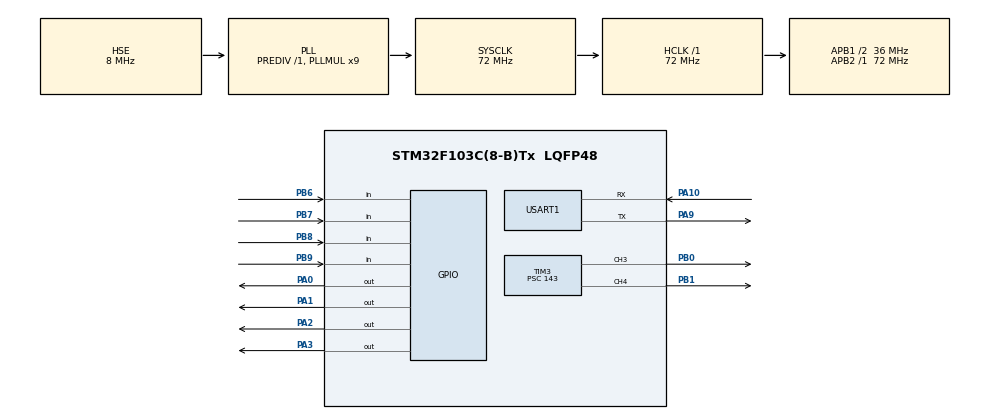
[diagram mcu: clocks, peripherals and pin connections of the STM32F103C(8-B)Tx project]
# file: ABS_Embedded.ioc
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FREERTOS.Tasks01=defaultTask,0,128,StartDefaultTask,Default,NULL,Dynamic,NULL,NULL
Mcu.Family=STM32F1
Mcu.Name=STM32F103C(8-B)Tx
Mcu.Package=LQFP48
NVIC.PriorityGroup=NVIC_PRIORITYGROUP_4
NVIC.TIM4_IRQn=true\:15\:0\:false\:false\:true\:false\:false\:true\:true
NVIC.TimeBase=TIM4_IRQn
NVIC.TimeBaseIP=TIM4
PA0-WKUP.Signal=GPIO_Output
PA1.Signal=GPIO_Output
PA10.Mode=Asynchronous
PA10.Signal=USART1_RX
PA13.Mode=Serial_Wire
PA13.Signal=SYS_JTMS-SWDIO
PA14.Mode=Serial_Wire
PA14.Signal=SYS_JTCK-SWCLK
PA2.Signal=GPIO_Output
PA3.Signal=GPIO_Output
PA9.Mode=Asynchronous
PA9.Signal=USART1_TX
PB0.Signal=S_TIM3_CH3
PB1.Signal=S_TIM3_CH4
PB6.GPIO_PuPd=GPIO_PULLUP
PB6.Signal=GPIO_Input
PB7.GPIO_PuPd=GPIO_PULLUP
PB7.Signal=GPIO_Input
PB8.GPIO_PuPd=GPIO_PULLUP
PB8.Signal=GPIO_Input
PB9.GPIO_PuPd=GPIO_PULLUP
PB9.Signal=GPIO_Input
PD0-OSC_IN.Mode=HSE-External-Oscillator
PD0-OSC_IN.Signal=RCC_OSC_IN
PD1-OSC_OUT.Mode=HSE-External-Oscillator
PD1-OSC_OUT.Signal=RCC_OSC_OUT
ProjectManager.HeapSize=0x200
ProjectManager.StackSize=0x400
ProjectManager.TargetToolchain=MDK-ARM V5.32
RCC.AHBFreq_Value=72000000
RCC.APB1CLKDivider=RCC_HCLK_DIV2
RCC.APB1Freq_Value=36000000
RCC.APB1TimFreq_Value=72000000
RCC.APB2Freq_Value=72000000
RCC.APB2TimFreq_Value=72000000
RCC.HCLKFreq_Value=72000000
RCC.PLLMUL=RCC_PLL_MUL9
RCC.PLLSourceVirtual=RCC_PLLSOURCE_HSE
RCC.SYSCLKFreq_VALUE=72000000
RCC.SYSCLKSource=RCC_SYSCLKSOURCE_PLLCLK
RCC.USBFreq_Value=72000000
SH.S_TIM3_CH3.0=TIM3_CH3,PWM Generation3 CH3
SH.S_TIM3_CH4.0=TIM3_CH4,PWM Generation4 CH4
TIM3.Channel-PWM\ Generation3\ CH3=TIM_CHANNEL_3
TIM3.Channel-PWM\ Generation4\ CH4=TIM_CHANNEL_4
TIM3.Period=9999
TIM3.Prescaler=143
USART1.VirtualMode=VM_ASYNC
VP_FREERTOS_VS_CMSIS_V1.Mode=CMSIS_V1
VP_SYS_VS_tim4.Mode=TIM4
board=custom

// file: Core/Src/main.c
/* USER CODE BEGIN Header */
/**
  ******************************************************************************
  * @file           : main.c
  * @brief          : Main program body
  ******************************************************************************
  * @attention
  *
  * Copyright (c) 2022 STMicroelectronics.
  * All rights reserved.
  *
  * This software is licensed under terms that can be found in the LICENSE file
  * in the root directory of this software component.
  * If no LICENSE file comes with this software, it is provided AS-IS.
  *
  ******************************************************************************
  */
/* USER CODE END Header */
#include "main.h"
#include "cmsis_os.h"

 TIM_HandleTypeDef htim3;

UART_HandleTypeDef huart1;

osThreadId defaultTaskHandle;
/* USER CODE BEGIN PV */
osThreadId task1Handle;
uint8_t buffer[5];
uint8_t vehicle_speed = 50;
uint8_t slip_ratio = 0;
/* USER CODE END PV */

void SystemClock_Config(void);
static void MX_GPIO_Init(void);
static void MX_TIM3_Init(void);
static void MX_USART1_UART_Init(void);
void StartDefaultTask(void const * argument);

/* USER CODE BEGIN PFP */
void task1();
/* USER CODE END PFP */

int main(void)
{

  /* MCU Configuration--------------------------------------------------------*/

  /* Reset of all peripherals, Initializes the Flash interface and the Systick. */
  HAL_Init();

  /* Configure the system clock */
  SystemClock_Config();

  /* Initialize all configured peripherals */
  MX_GPIO_Init();
  MX_TIM3_Init();
  MX_USART1_UART_Init();
  /* USER CODE BEGIN 2 */
  HAL_GPIO_WritePin(GPIOA,GPIO_PIN_0,GPIO_PIN_SET);
	HAL_GPIO_WritePin(GPIOA,GPIO_PIN_1,GPIO_PIN_RESET);

	HAL_TIM_Base_Start(&htim3);
	HAL_TIM_PWM_Start(&htim3,TIM_CHANNEL_3);
  /* USER CODE END 2 */

  /* Create the thread(s) */
  /* definition and creation of defaultTask */
  osThreadDef(defaultTask, StartDefaultTask, osPriorityNormal, 0, 128);
  defaultTaskHandle = osThreadCreate(osThread(defaultTask), NULL);

  /* USER CODE BEGIN RTOS_THREADS */
  osThreadDef(Task1,task1,osPriorityBelowNormal,0,128);
	task1Handle = osThreadCreate(osThread(Task1), NULL);
  /* USER CODE END RTOS_THREADS */

  /* Start scheduler */
  osKernelStart();

  /* We should never get here as control is now taken by the scheduler */
  /* Infinite loop */
  while (1)
  {

  }
}

void SystemClock_Config(void)
{
  RCC_OscInitTypeDef RCC_OscInitStruct = {0};
  RCC_ClkInitTypeDef RCC_ClkInitStruct = {0};

  /** Initializes the RCC Oscillators according to the specified parameters
  * in the RCC_OscInitTypeDef structure.
  */
  RCC_OscInitStruct.OscillatorType = RCC_OSCILLATORTYPE_HSE;
  RCC_OscInitStruct.HSEState = RCC_HSE_ON;
  RCC_OscInitStruct.HSEPredivValue = RCC_HSE_PREDIV_DIV1;
  RCC_OscInitStruct.HSIState = RCC_HSI_ON;
  RCC_OscInitStruct.PLL.PLLState = RCC_PLL_ON;
  RCC_OscInitStruct.PLL.PLLSource = RCC_PLLSOURCE_HSE;
  RCC_OscInitStruct.PLL.PLLMUL = RCC_PLL_MUL9;
  if (HAL_RCC_OscConfig(&RCC_OscInitStruct) != HAL_OK)
  {
    Error_Handler();
  }

  /** Initializes the CPU, AHB and APB buses clocks
  */
  RCC_ClkInitStruct.ClockType = RCC_CLOCKTYPE_HCLK|RCC_CLOCKTYPE_SYSCLK
                              |RCC_CLOCKTYPE_PCLK1|RCC_CLOCKTYPE_PCLK2;
  RCC_ClkInitStruct.SYSCLKSource = RCC_SYSCLKSOURCE_PLLCLK;
  RCC_ClkInitStruct.AHBCLKDivider = RCC_SYSCLK_DIV1;
  RCC_ClkInitStruct.APB1CLKDivider = RCC_HCLK_DIV2;
  RCC_ClkInitStruct.APB2CLKDivider = RCC_HCLK_DIV1;

  if (HAL_RCC_ClockConfig(&RCC_ClkInitStruct, FLASH_LATENCY_2) != HAL_OK)
  {
    Error_Handler();
  }
}

static void MX_TIM3_Init(void)
{

  TIM_MasterConfigTypeDef sMasterConfig = {0};
  TIM_OC_InitTypeDef sConfigOC = {0};

  htim3.Instance = TIM3;
  htim3.Init.Prescaler = 143;
  htim3.Init.CounterMode = TIM_COUNTERMODE_UP;
  htim3.Init.Period = 9999;
  htim3.Init.ClockDivision = TIM_CLOCKDIVISION_DIV1;
  htim3.Init.AutoReloadPreload = TIM_AUTORELOAD_PRELOAD_DISABLE;
  if (HAL_TIM_PWM_Init(&htim3) != HAL_OK)
  {
    Error_Handler();
  }
  sMasterConfig.MasterOutputTrigger = TIM_TRGO_RESET;
  sMasterConfig.MasterSlaveMode = TIM_MASTERSLAVEMODE_DISABLE;
  if (HAL_TIMEx_MasterConfigSynchronization(&htim3, &sMasterConfig) != HAL_OK)
  {
    Error_Handler();
  }
  sConfigOC.OCMode = TIM_OCMODE_PWM1;
  sConfigOC.Pulse = 0;
  sConfigOC.OCPolarity = TIM_OCPOLARITY_HIGH;
  sConfigOC.OCFastMode = TIM_OCFAST_DISABLE;
  if (HAL_TIM_PWM_ConfigChannel(&htim3, &sConfigOC, TIM_CHANNEL_3) != HAL_OK)
  {
    Error_Handler();
  }
  if (HAL_TIM_PWM_ConfigChannel(&htim3, &sConfigOC, TIM_CHANNEL_4) != HAL_OK)
  {
    Error_Handler();
  }
  HAL_TIM_MspPostInit(&htim3);

}

static void MX_USART1_UART_Init(void)
{

  huart1.Instance = USART1;
  huart1.Init.BaudRate = 115200;
  huart1.Init.WordLength = UART_WORDLENGTH_8B;
  huart1.Init.StopBits = UART_STOPBITS_1;
  huart1.Init.Parity = UART_PARITY_NONE;
  huart1.Init.Mode = UART_MODE_TX_RX;
  huart1.Init.HwFlowCtl = UART_HWCONTROL_NONE;
  huart1.Init.OverSampling = UART_OVERSAMPLING_16;
  if (HAL_UART_Init(&huart1) != HAL_OK)
  {
    Error_Handler();
  }

}

static void MX_GPIO_Init(void)
{
  GPIO_InitTypeDef GPIO_InitStruct = {0};

  /* GPIO Ports Clock Enable */
  __HAL_RCC_GPIOD_CLK_ENABLE();
  __HAL_RCC_GPIOA_CLK_ENABLE();
  __HAL_RCC_GPIOB_CLK_ENABLE();

  /*Configure GPIO pin Output Level */
  HAL_GPIO_WritePin(GPIOA, GPIO_PIN_0|GPIO_PIN_1|GPIO_PIN_2|GPIO_PIN_3, GPIO_PIN_RESET);

  /*Configure GPIO pins : PA0 PA1 PA2 PA3 */
  GPIO_InitStruct.Pin = GPIO_PIN_0|GPIO_PIN_1|GPIO_PIN_2|GPIO_PIN_3;
  GPIO_InitStruct.Mode = GPIO_MODE_OUTPUT_PP;
  GPIO_InitStruct.Pull = GPIO_NOPULL;
  GPIO_InitStruct.Speed = GPIO_SPEED_FREQ_LOW;
  HAL_GPIO_Init(GPIOA, &GPIO_InitStruct);

  /*Configure GPIO pins : PB6 PB7 PB8 PB9 */
  GPIO_InitStruct.Pin = GPIO_PIN_6|GPIO_PIN_7|GPIO_PIN_8|GPIO_PIN_9;
  GPIO_InitStruct.Mode = GPIO_MODE_INPUT;
  GPIO_InitStruct.Pull = GPIO_PULLUP;
  HAL_GPIO_Init(GPIOB, &GPIO_InitStruct);

}

/* USER CODE BEGIN 4 */
void task1(){
		while(1){
			__HAL_TIM_SetCompare(&htim3,TIM_CHANNEL_3,5000);
			osThreadResume(task1Handle);
		}
	}
/* USER CODE END 4 */

void StartDefaultTask(void const * argument)
{
  /* USER CODE BEGIN 5 */
  /* Infinite loop */
  while(1){
		HAL_UART_Receive_IT(&huart1,buffer,1);
		slip_ratio = (vehicle_speed - buffer[0])/vehicle_speed;
		if(slip_ratio > 0.4){
			osThreadSuspend(NULL);
		}
	}
  /* USER CODE END 5 */
}

void HAL_TIM_PeriodElapsedCallback(TIM_HandleTypeDef *htim)
{
  if (htim->Instance == TIM4) {
    HAL_IncTick();
  }
}

void Error_Handler(void)
{
  __disable_irq();
  while (1)
  {
  }
}
